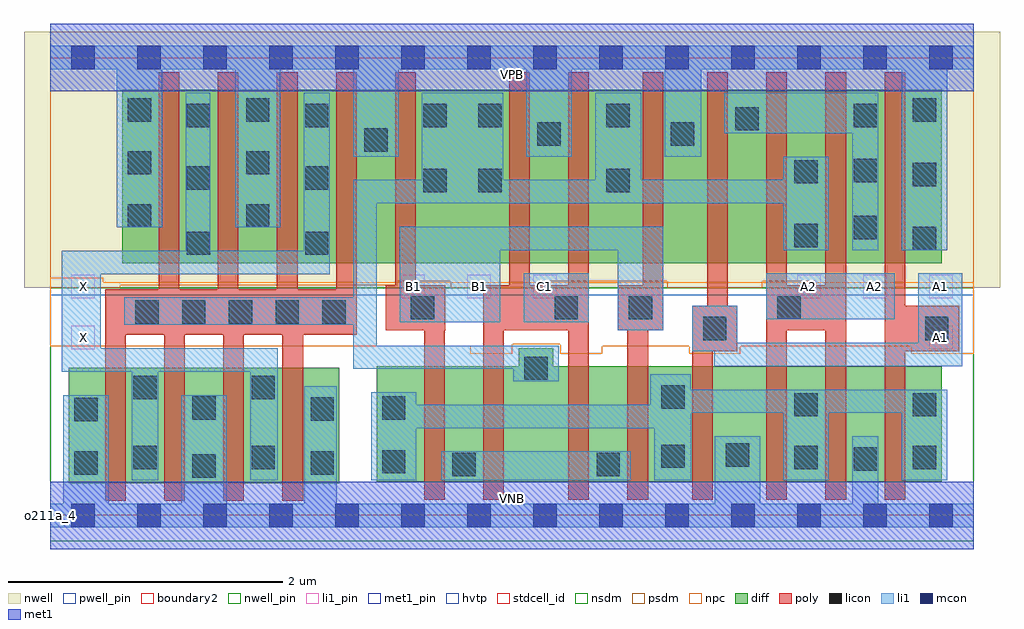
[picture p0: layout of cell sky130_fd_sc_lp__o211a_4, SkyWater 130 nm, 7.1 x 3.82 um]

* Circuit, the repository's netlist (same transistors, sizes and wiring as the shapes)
* Copyright 2020 The SkyWater PDK Authors
*
* Licensed under the Apache License, Version 2.0 (the "License");
* you may not use this file except in compliance with the License.
* You may obtain a copy of the License at
*
*     https://www.apache.org/licenses/LICENSE-2.0
*
* Unless required by applicable law or agreed to in writing, software
* distributed under the License is distributed on an "AS IS" BASIS,
* WITHOUT WARRANTIES OR CONDITIONS OF ANY KIND, either express or implied.
* See the License for the specific language governing permissions and
* limitations under the License.
*
* SPDX-License-Identifier: Apache-2.0

.SUBCKT sky130_fd_sc_lp__o211a_4 A1 A2 B1 C1 VGND VNB VPB VPWR X
*.PININFO A1:I A2:I B1:I C1:I VGND:I VNB:I VPB:I VPWR:I X:O
MMPA0 VPWR A1 sndA1 VPB sky130_fd_pr__pfet_01v8_hvt m=2 w=1.26U l=0.15U mult=1
+ sa=0.265 sb=0.265 sd=0.28 area=0.063 perim=1.14
MMPA1 sndA1 A2 y VPB sky130_fd_pr__pfet_01v8_hvt m=2 w=1.26U l=0.15U mult=1 sa=0.265
+ sb=0.265 sd=0.28 area=0.063 perim=1.14
MMPB0 VPWR B1 y VPB sky130_fd_pr__pfet_01v8_hvt m=2 w=1.26U l=0.15U mult=1 sa=0.265
+ sb=0.265 sd=0.28 area=0.063 perim=1.14
MMPC0 VPWR C1 y VPB sky130_fd_pr__pfet_01v8_hvt m=2 w=1.26U l=0.15U mult=1 sa=0.265
+ sb=0.265 sd=0.28 area=0.063 perim=1.14
MMIPX X y VPWR VPB sky130_fd_pr__pfet_01v8_hvt m=4 w=1.26U l=0.15U mult=1 sa=0.265
+ sb=0.265 sd=0.28 area=0.063 perim=1.14
MMNA0 pndA A1 VGND VNB sky130_fd_pr__nfet_01v8 m=2 w=0.84U l=0.15U mult=1 sa=0.265
+ sb=0.265 sd=0.28 area=0.063 perim=1.14
MMNA1 pndA A2 VGND VNB sky130_fd_pr__nfet_01v8 m=2 w=0.84U l=0.15U mult=1 sa=0.265
+ sb=0.265 sd=0.28 area=0.063 perim=1.14
MMNB0 pndB B1 pndA VNB sky130_fd_pr__nfet_01v8 m=2 w=0.84U l=0.15U mult=1 sa=0.265
+ sb=0.265 sd=0.28 area=0.063 perim=1.14
MMNC0 y C1 pndB VNB sky130_fd_pr__nfet_01v8 m=2 w=0.84U l=0.15U mult=1 sa=0.265
+ sb=0.265 sd=0.28 area=0.063 perim=1.14
MMINX X y VGND VNB sky130_fd_pr__nfet_01v8 m=4 w=0.84U l=0.15U mult=1 sa=0.265
+ sb=0.265 sd=0.28 area=0.063 perim=1.14
.ENDS sky130_fd_sc_lp__o211a_4

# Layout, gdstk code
import gdstk
lib = gdstk.Library(unit=1e-6, precision=1e-09)
def R(c, l, rs):  # rectangles x0, y0, x1, y1
    for r in rs: c.add(gdstk.rectangle(r[:2], r[2:], *l))
def A(c, l, x, y, w, h, nx, ny, dx, dy):  # array of equal rectangles
    R(c, l, [(x+i*dx, y+j*dy, x+i*dx+w, y+j*dy+h) for i in range(nx) for j in range(ny)])
def P(c, l, *ps):  # polygons
    for p in ps: c.add(gdstk.Polygon(p, *l))
nwell_pin = (64, 16)
nwell = (64, 20)
diff = (65, 20)
poly = (66, 20)
licon = (66, 44)
li1_pin = (67, 16)
li1 = (67, 20)
mcon = (67, 44)
met1_pin = (68, 16)
met1 = (68, 20)
hvtp = (78, 44)
stdcell_id = (81, 4)
nsdm = (93, 44)
psdm = (94, 20)
npc = (95, 20)
pwell_pin = (122, 16)
boundary2 = (236, 0)

sky130_fd_sc_lp__o211a_4 = lib.new_cell('sky130_fd_sc_lp__o211a_4')
R(sky130_fd_sc_lp__o211a_4, nwell_pin, [(0,3.085,6.72,3.33)])
R(sky130_fd_sc_lp__o211a_4, nwell, [(-0.19,1.655,6.91,3.52)])
R(sky130_fd_sc_lp__o211a_4, diff, [(0.135,0.235,2.105,1.075), (0.525,1.835,6.485,3.095)])
P(sky130_fd_sc_lp__o211a_4, diff, [(6.485,1.085),(3.66,1.085),(3.66,1.215),(3.41,1.215),(3.41,1.085),(2.375,1.085),(2.375,0.245),(6.485,0.245)])
P(sky130_fd_sc_lp__o211a_4, poly, [(2.23,3.225),(2.08,3.225),(2.08,1.645),(1.8,1.645),(1.8,3.225),(1.65,3.225),(1.65,1.645),(1.37,1.645),(1.37,3.225),(1.22,3.225),(1.22,1.645),(0.94,1.645),(0.94,3.225),(0.79,3.225),(0.79,1.645),(0.4,1.645),(0.4,0.105),(0.55,0.105),(0.55,1.315),(0.83,1.315),(0.83,0.105),(0.98,0.105),(0.98,1.315),(1.26,1.315),(1.26,0.105),(1.41,0.105),(1.41,1.315),(1.69,1.315),(1.69,0.105),(1.84,0.105),(1.84,1.315),(2.23,1.315)],
  [(2.875,1.675),(2.66,1.675),(2.66,3.225),(2.51,3.225),(2.51,1.675),(2.44,1.675),(2.44,1.345),(2.72,1.345),(2.72,0.115),(2.87,0.115),(2.87,1.345),(2.875,1.345)],
  [(3.92,3.225),(3.77,3.225),(3.77,1.675),(3.49,1.675),(3.49,3.225),(3.34,3.225),(3.34,1.675),(3.15,1.675),(3.15,0.115),(3.3,0.115),(3.3,1.345),(3.77,1.345),(3.77,0.115),(3.92,0.115)],
  [(4.46,3.225),(4.31,3.225),(4.31,1.675),(4.13,1.675),(4.13,1.345),(4.2,1.345),(4.2,0.115),(4.35,0.115),(4.35,1.345),(4.46,1.345)],
  [(5,1.525),(4.93,1.525),(4.93,3.225),(4.78,3.225),(4.78,1.525),(4.67,1.525),(4.67,0.115),(4.82,0.115),(4.82,1.195),(5,1.195)],
  [(5.79,3.225),(5.64,3.225),(5.64,1.675),(5.36,1.675),(5.36,3.225),(5.21,3.225),(5.21,0.115),(5.36,0.115),(5.36,1.345),(5.64,1.345),(5.64,0.115),(5.79,0.115)],
  [(6.615,1.525),(6.22,1.525),(6.22,3.225),(6.07,3.225),(6.07,0.115),(6.22,0.115),(6.22,1.195),(6.615,1.195)])
A(sky130_fd_sc_lp__o211a_4, licon, 0.62, 1.395, 0.17, 0.17, 5, 1, 0.34, 0)
A(sky130_fd_sc_lp__o211a_4, licon, 0.565, 2.095, 0.17, 0.17, 1, 3, 0, 0.385)
A(sky130_fd_sc_lp__o211a_4, licon, 1.425, 2.095, 0.17, 0.17, 1, 3, 0, 0.385)
A(sky130_fd_sc_lp__o211a_4, licon, 0.995, 2.825, 0.17, 0.17, 3, 1, 0.86, 0)
R(sky130_fd_sc_lp__o211a_4, licon, [(1.035,0.275,1.205,0.445), (2.925,0.285,3.095,0.455), (3.975,0.285,4.145,0.455), (0.175,0.295,0.345,0.465), (1.895,0.295,2.065,0.465), (2.415,0.305,2.585,0.475), (5.845,0.325,6.015,0.495), (0.605,0.335,0.775,0.505), (1.465,0.335,1.635,0.505), (5.415,0.335,5.585,0.505), (6.275,0.335,6.445,0.505), (4.445,0.345,4.615,0.515), (4.915,0.355,5.085,0.525), (0.175,0.685,0.345,0.855), (1.895,0.69,2.065,0.86), (1.035,0.695,1.205,0.865), (2.415,0.695,2.585,0.865), (5.415,0.72,5.585,0.89), (6.275,0.72,6.445,0.89), (4.445,0.775,4.615,0.945), (0.605,0.845,0.775,1.015), (1.465,0.845,1.635,1.015), (3.45,0.985,3.62,1.155), (4.75,1.275,4.92,1.445), (6.365,1.275,6.535,1.445), (2.625,1.425,2.795,1.595), (3.67,1.425,3.84,1.595), (4.21,1.425,4.38,1.595), (5.29,1.425,5.46,1.595), (0.995,1.895,1.165,2.065), (1.855,1.895,2.025,2.065), (6.275,1.93,6.445,2.1), (5.415,1.95,5.585,2.12), (5.845,2.01,6.015,2.18), (2.715,2.35,2.885,2.52), (3.115,2.35,3.285,2.52), (4.045,2.35,4.215,2.52), (0.995,2.37,1.165,2.54), (1.855,2.37,2.025,2.54), (6.275,2.395,6.445,2.565), (5.415,2.415,5.585,2.585), (5.845,2.425,6.015,2.595), (2.285,2.645,2.455,2.815), (3.545,2.69,3.715,2.86), (4.515,2.69,4.685,2.86), (4.985,2.8,5.155,2.97), (3.115,2.825,3.285,2.995), (4.045,2.825,4.215,2.995), (5.845,2.825,6.015,2.995), (6.275,2.865,6.445,3.035)])
A(sky130_fd_sc_lp__o211a_4, li1_pin, 2.555, 1.58, 0.17, 0.17, 3, 1, 0.48, 0)
A(sky130_fd_sc_lp__o211a_4, li1_pin, 5.435, 1.58, 0.17, 0.17, 3, 1, 0.48, 0)
R(sky130_fd_sc_lp__o211a_4, li1_pin, [(0.155,1.21,0.325,1.38), (6.395,1.21,6.565,1.38), (0.155,1.58,0.325,1.75)])
R(sky130_fd_sc_lp__o211a_4, li1, [(2.845,0.255,4.225,0.465), (3.445,1.405,3.92,1.76), (5.21,1.425,6.145,1.76)])
P(sky130_fd_sc_lp__o211a_4, li1, [(2.035,3.075),(1.845,3.075),(1.845,1.925),(1.165,1.925),(1.165,3.075),(0.985,3.075),(0.985,1.925),(0.085,1.925),(0.085,1.045),(0.595,1.045),(0.595,0.255),(0.785,0.255),(0.785,1.045),(1.455,1.045),(1.455,0.255),(1.655,0.255),(1.655,1.215),(0.37,1.215),(0.37,1.755),(2.035,1.755)],
  [(6.635,1.76),(6.315,1.76),(6.315,1.255),(5,1.255),(5,1.525),(4.67,1.525),(4.67,1.195),(4.83,1.195),(4.83,1.085),(6.635,1.085)],
  [(6.72,0.085),(6.025,0.085),(6.025,0.575),(5.835,0.575),(5.835,0.085),(5.165,0.085),(5.165,0.575),(4.835,0.575),(4.835,0.085),(2.085,0.085),(2.085,0.94),(1.85,0.94),(1.85,0.085),(1.285,0.085),(1.285,0.875),(0.955,0.875),(0.955,0.085),(0.425,0.085),(0.425,0.875),(0.095,0.875),(0.095,0.085),(0,0.085),(0,-0.085),(6.72,-0.085)],
  [(6.72,3.415),(0,3.415),(0,3.245),(0.485,3.245),(0.485,2.095),(0.815,2.095),(0.815,3.245),(1.345,3.245),(1.345,2.095),(1.675,2.095),(1.675,3.245),(2.205,3.245),(2.205,2.61),(2.535,2.61),(2.535,3.245),(3.465,3.245),(3.465,2.61),(3.795,2.61),(3.795,3.245),(4.47,3.245),(4.47,2.61),(4.735,2.61),(4.735,3.245),(6.195,3.245),(6.195,1.93),(6.525,1.93),(6.525,3.245),(6.72,3.245)],
  [(6.025,3.075),(4.905,3.075),(4.905,2.78),(5.835,2.78),(5.835,1.93),(6.025,1.93)],
  [(4.46,2.1),(2.545,2.1),(2.545,1.405),(3.275,1.405),(3.275,1.93),(4.13,1.93),(4.13,1.345),(4.46,1.345)],
  [(5.665,2.61),(5.335,2.61),(5.335,2.44),(4.3,2.44),(4.3,3.075),(3.965,3.075),(3.965,2.44),(3.295,2.44),(3.295,3.075),(2.705,3.075),(2.705,2.44),(2.205,2.44),(2.205,1.585),(0.54,1.585),(0.54,1.385),(2.205,1.385),(2.205,1.065),(3.37,1.065),(3.37,0.975),(3.7,0.975),(3.7,1.235),(2.375,1.235),(2.375,2.27),(5.335,2.27),(5.335,1.93),(5.665,1.93)],
  [(6.525,0.915),(4.66,0.915),(4.66,1.025),(4.365,1.025),(4.365,0.805),(2.665,0.805),(2.665,0.895),(2.335,0.895),(2.335,0.255),(2.665,0.255),(2.665,0.635),(4.395,0.635),(4.395,0.255),(4.665,0.255),(4.665,0.745),(5.335,0.745),(5.335,0.255),(5.665,0.255),(5.665,0.745),(6.195,0.745),(6.195,0.255),(6.525,0.255)])
A(sky130_fd_sc_lp__o211a_4, mcon, 0.155, -0.085, 0.17, 0.17, 14, 2, 0.48, 3.33)
R(sky130_fd_sc_lp__o211a_4, met1_pin, [(0,0,6.72,0.245), (0,3.085,6.72,3.33)])
R(sky130_fd_sc_lp__o211a_4, met1, [(0,-0.245,6.72,0.245), (0,3.085,6.72,3.575)])
R(sky130_fd_sc_lp__o211a_4, hvtp, [(0,1.6,6.72,3.33)])
R(sky130_fd_sc_lp__o211a_4, stdcell_id, [(0,0,6.72,3.33)])
R(sky130_fd_sc_lp__o211a_4, nsdm, [(0,-0.19,6.72,1.655)])
P(sky130_fd_sc_lp__o211a_4, psdm, [(6.72,3.52),(0,3.52),(0,1.655),(0.51,1.655),(0.51,1.675),(2.525,1.675),(2.525,1.705),(2.915,1.705),(2.915,1.655),(3.56,1.655),(3.56,1.705),(4.49,1.705),(4.49,1.655),(5.18,1.655),(5.18,1.705),(5.57,1.705),(5.57,1.655),(6.72,1.655)])
P(sky130_fd_sc_lp__o211a_4, npc, [(6.72,1.695),(0.385,1.695),(0.385,1.73),(0,1.73),(0,1.23),(3.055,1.23),(3.055,1.175),(3.36,1.175),(3.36,1.245),(3.71,1.245),(3.71,1.175),(4.015,1.175),(4.015,1.23),(4.65,1.23),(4.65,1.175),(5.02,1.175),(5.02,1.23),(6.265,1.23),(6.265,1.175),(6.72,1.175)])
R(sky130_fd_sc_lp__o211a_4, pwell_pin, [(0,0,6.72,0.245)])
R(sky130_fd_sc_lp__o211a_4, boundary2, [(0,0,6.72,3.33)])
sky130_fd_sc_lp__o211a_4.add(gdstk.Label('VNB', (3.36,0.123), layer=64, texttype=59))
sky130_fd_sc_lp__o211a_4.add(gdstk.Label('VPB', (3.36,3.208), layer=64, texttype=5))
sky130_fd_sc_lp__o211a_4.add(gdstk.Label('o211a_4', (0,0), layer=83, texttype=44))
sky130_fd_sc_lp__o211a_4.add(gdstk.Label('VPWR', (3.36,3.208), layer=68, texttype=5))
sky130_fd_sc_lp__o211a_4.add(gdstk.Label('VGND', (3.36,0.123), layer=68, texttype=5))
sky130_fd_sc_lp__o211a_4.add(gdstk.Label('A2', (5.52,1.665), layer=67, texttype=5))
sky130_fd_sc_lp__o211a_4.add(gdstk.Label('A2', (6,1.665), layer=67, texttype=5))
sky130_fd_sc_lp__o211a_4.add(gdstk.Label('C1', (3.6,1.665), layer=67, texttype=5))
sky130_fd_sc_lp__o211a_4.add(gdstk.Label('X', (0.24,1.295), layer=67, texttype=5))
sky130_fd_sc_lp__o211a_4.add(gdstk.Label('X', (0.24,1.665), layer=67, texttype=5))
sky130_fd_sc_lp__o211a_4.add(gdstk.Label('A1', (6.48,1.295), layer=67, texttype=5))
sky130_fd_sc_lp__o211a_4.add(gdstk.Label('A1', (6.48,1.665), layer=67, texttype=5))
sky130_fd_sc_lp__o211a_4.add(gdstk.Label('B1', (2.64,1.665), layer=67, texttype=5))
sky130_fd_sc_lp__o211a_4.add(gdstk.Label('B1', (3.12,1.665), layer=67, texttype=5))

lib.write_gds('sky130_fd_sc_lp__o211a_4.gds')
